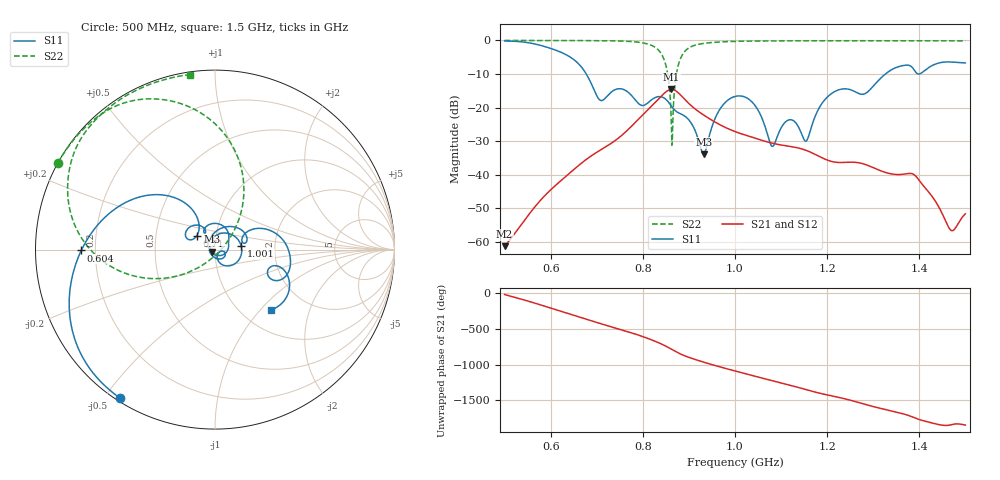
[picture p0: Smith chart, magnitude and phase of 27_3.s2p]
! TOUCHSTONE file generated by CST MICROWAVE STUDIO
! Date and time: Fri Oct  2 16:36:43 2020
! Project name: Scenario_1_Free_Space_out_of_line.cst
! Parameters = {Lambda=346.42; Step_1=17.321; dy1=-103.226; dx1=520; L_HA=400; MT=2.54; Rad_Dielectric=30; Rad_Lower=7.3; Rad_Upper=30; a_HA=580; a_WG=246; b_HA=500; b_WG=121; c_HA=0; c_WG=187; d_feed=85; h_feed=15; h_lower=18; h_upper=40}
! Header version: 2018
! Port assignment regex: !\s*Touchstone port\s*([0-9]+)\s*=\s*(CST MWS port|CST DS port)\s*([0-9]+|Zmin|Zmax)\s*\(\"(.*)\"\)(\s*mode\s*([0-9]+))?.*
! Touchstone port assignment:
! Touchstone port 1 = CST MWS port 1 ("")
! Touchstone port 2 = CST MWS port 2 ("")
# GHz S DB R 50
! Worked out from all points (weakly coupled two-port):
!   1003 points, 500 MHz to 1.5 GHz, reference 50 ohm
!   highest |S21| = -14.59 dB at 862 MHz (marker M1); lowest = -61.2 dB at 500 MHz (marker M2)
!   lowest |S11| = -33.9 dB at 932 MHz (marker M3), VSWR 1.04, Z = 48.3 - j1.09 ohm
!   |S11| at or under -10 dB: 677.3 MHz to 1.326 GHz (649.2 MHz wide, 64.8 % of centre); 1.398032 GHz to 1.399408 GHz (1.376 MHz wide, 0.0984 % of centre)
!   |S22| runs from -31.2 to 0.0 dB; largest |S21 - S12| = 0.00031
!   S11 on the Smith chart (normalised r, x): 500 MHz: 0.01, -0.55; 604 MHz: 0.15, -0.00; 710 MHz: 0.81, +0.12; 1.001 GHz: 1.34, +0.06; 1.5 GHz: 1.34, -1.16
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0.5  -0.15 -122.5  -61.22 -19.1  -61.22 -19.1  -0.01 151.1
0.604  -2.56 -179.7  -43.95 143.6  -43.95 143.6  -0.02 143.8
0.667  -7.96 131.3  -36.50 18.1  -36.50 18.1  -0.04 138.4
0.71  -17.91 144.0  -32.44 -69.7  -32.44 -69.7  -0.08 133.7
0.834  -16.72 94.2  -17.41 27.1  -17.41 27.1  -2.88 91.5
0.851  -17.67 61.2  -15.21 -25.1  -15.21 -25.1  -7.97 66.4
0.862  -19.51 42.8  -14.59 -64.2  -14.59 -64.2  -25.30 21.8
0.884  -21.97 17.4  -16.54 -137.7  -16.54 -137.7  -4.71 -170.3
0.932  -33.87 -146.1  -22.20 114.7  -22.20 114.7  -0.88 155.2
0.964  -21.19 78.2  -24.85 54.5  -24.84 54.5  -0.48 146.9
1  -16.67 10.0  -27.12 -8.5  -27.12 -8.4  -0.28 140.8
1.001  -16.64 8.3  -27.17 -10.2  -27.18 -10.1  -0.27 140.7
1.043  -19.27 -56.4  -29.05 -81.5  -29.08 -81.7  -0.19 135.5
1.081  -31.53 -41.4  -30.58 -143.5  -30.58 -143.5  -0.14 131.7
1.114  -23.81 -27.3  -31.42 161.9  -31.42 161.9  -0.12 128.7
1.153  -29.98 -153.9  -32.65 92.4  -32.64 92.4  -0.10 125.5
1.167  -25.28 126.8  -33.45 67.7  -33.45 67.7  -0.10 124.4
1.21  -15.75 51.2  -36.02 2.7  -36.02 2.7  -0.09 121.0
1.334  -9.23 15.8  -39.57 160.7  -39.56 160.7  -0.09 111.6
1.391  -9.20 -27.5  -40.21 52.7  -40.21 52.7  -0.10 107.2
1.469  -6.42 -38.9  -56.52 -41.7  -56.52 -41.7  -0.12 100.8
1.5  -6.70 -47.1  -51.60 -45.9  -51.51 -45.7  -0.14 98.1
